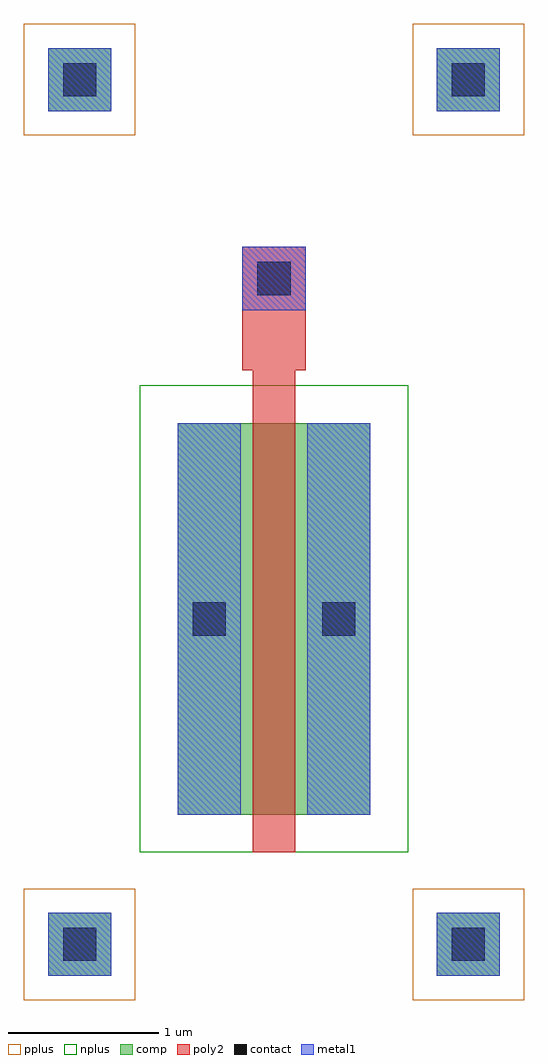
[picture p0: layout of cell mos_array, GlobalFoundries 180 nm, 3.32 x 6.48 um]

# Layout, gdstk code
import gdstk
lib = gdstk.Library(unit=1e-6, precision=5e-10)
def R(c, l, rs):  # rectangles x0, y0, x1, y1
    for r in rs: c.add(gdstk.rectangle(r[:2], r[2:], *l))
comp = (22, 0)
poly2 = (30, 0)
pplus = (31, 0)
nplus = (32, 0)
contact = (33, 0)
metal1 = (34, 0)

mos_array = lib.new_cell('mos_array')
R(mos_array, comp, [(-0.86,-1.07,-0.44,-0.65), (1.72,-1.07,2.14,-0.65), (0,0,1.28,2.6), (-0.86,4.67,-0.44,5.09), (1.72,4.67,2.14,5.09)])
R(mos_array, poly2, [(0.5,-0.25,0.78,2.6), (0.5,2.6,0.78,2.95), (0.43,2.95,0.85,3.77)])
R(mos_array, pplus, [(-1.02,-1.23,-0.28,-0.49), (1.56,-1.23,2.3,-0.49), (-1.02,4.51,-0.28,5.25), (1.56,4.51,2.3,5.25)])
R(mos_array, nplus, [(-0.25,-0.25,1.53,2.85)])
R(mos_array, contact, [(-0.76,-0.97,-0.54,-0.75), (1.82,-0.97,2.04,-0.75), (0.1,1.19,0.32,1.41), (0.96,1.19,1.18,1.41), (0.53,3.45,0.75,3.67), (-0.76,4.77,-0.54,4.99), (1.82,4.77,2.04,4.99)])
R(mos_array, metal1, [(-0.86,-1.07,-0.44,-0.65), (1.72,-1.07,2.14,-0.65), (0,0,0.42,2.6), (0.86,0,1.28,2.6), (0.43,3.35,0.85,3.77), (-0.86,4.67,-0.44,5.09), (1.72,4.67,2.14,5.09)])

lib.write_gds('mos_array.gds')
